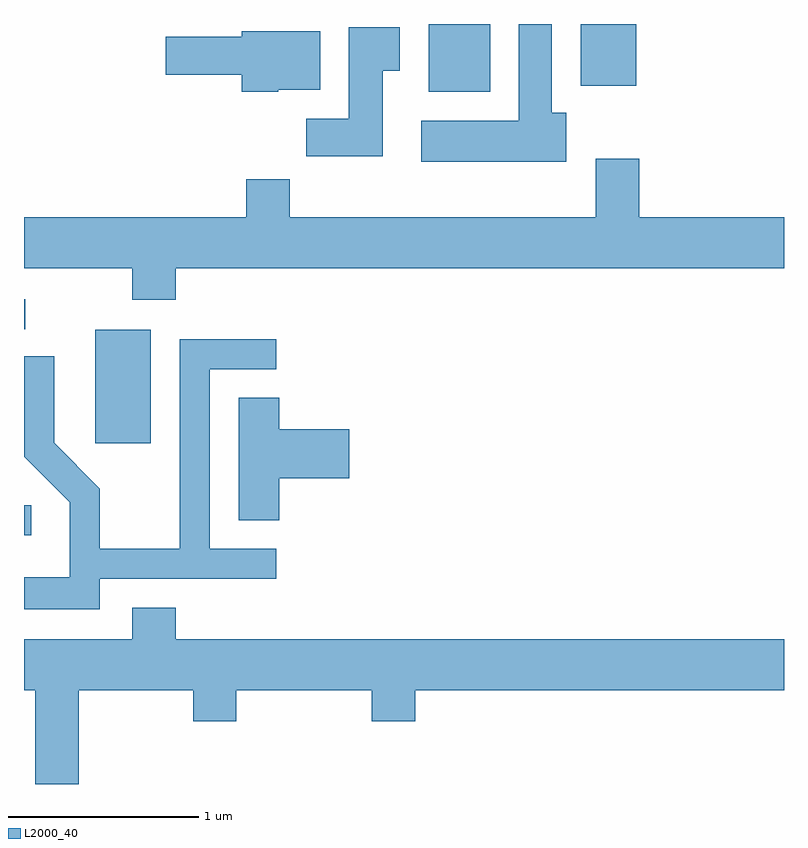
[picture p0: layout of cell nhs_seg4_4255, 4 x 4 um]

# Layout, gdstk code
import gdstk
lib = gdstk.Library(unit=1e-6, precision=1e-09)
def R(c, l, rs):  # rectangles x0, y0, x1, y1
    for r in rs: c.add(gdstk.rectangle(r[:2], r[2:], *l))
def P(c, l, *ps):  # polygons
    for p in ps: c.add(gdstk.Polygon(p, *l))
L2000_40 = (2000, 40)

nhs_seg4_4255 = lib.new_cell('nhs_seg4_4255')
R(nhs_seg4_4255, L2000_40, [(309.611,1333.291,309.648,1333.449), (309.986,1333.776,310.279,1334.374), (309.611,1334.376,309.618,1334.534), (311.741,1335.626,312.064,1335.982), (312.541,1335.656,312.834,1335.982)])
P(nhs_seg4_4255, L2000_40, [(312.464,1335.514),(312.389,1335.514),(312.389,1335.982),(312.216,1335.982),(312.216,1335.474),(311.701,1335.474),(311.701,1335.256),(312.464,1335.256)],
  [(311.499,1335.736),(311.589,1335.736),(311.589,1335.964),(311.321,1335.964),(311.321,1335.484),(311.096,1335.484),(311.096,1335.286),(311.499,1335.286)],
  [(310.95,1335.636),(311.169,1335.636),(311.169,1335.944),(310.756,1335.944),(310.756,1335.914),(310.356,1335.914),(310.356,1335.716),(310.756,1335.716),(310.756,1335.626),(310.95,1335.626)],
  [(310.409,1334.696),(313.611,1334.696),(313.611,1334.964),(312.849,1334.964),(312.849,1335.274),(312.621,1335.274),(312.621,1334.964),(311.009,1334.964),(311.009,1335.164),(310.781,1335.164),(310.781,1334.964),(309.611,1334.964),(309.611,1334.696),(310.181,1334.696),(310.181,1334.531),(310.409,1334.531)],
  [(310.009,1333.061),(310.938,1333.061),(310.938,1333.219),(310.589,1333.219),(310.589,1334.166),(310.938,1334.166),(310.938,1334.324),(310.431,1334.324),(310.431,1333.219),(310.009,1333.219),(310.009,1333.537),(309.769,1333.777),(309.769,1334.233),(309.611,1334.233),(309.611,1333.704),(309.851,1333.464),(309.851,1333.069),(309.611,1333.069),(309.611,1332.901),(310.009,1332.901)],
  [(310.954,1333.591),(311.324,1333.591),(311.324,1333.849),(310.954,1333.849),(310.954,1334.014),(310.741,1334.014),(310.741,1333.371),(310.954,1333.371)],
  [(309.899,1332.476),(310.501,1332.476),(310.501,1332.311),(310.729,1332.311),(310.729,1332.476),(311.441,1332.476),(311.441,1332.311),(311.669,1332.311),(311.669,1332.476),(313.611,1332.476),(313.611,1332.744),(310.409,1332.744),(310.409,1332.909),(310.181,1332.909),(310.181,1332.744),(309.611,1332.744),(309.611,1332.476),(309.671,1332.476),(309.671,1331.982),(309.899,1331.982)])

lib.write_gds('nhs_seg4_4255.gds')
